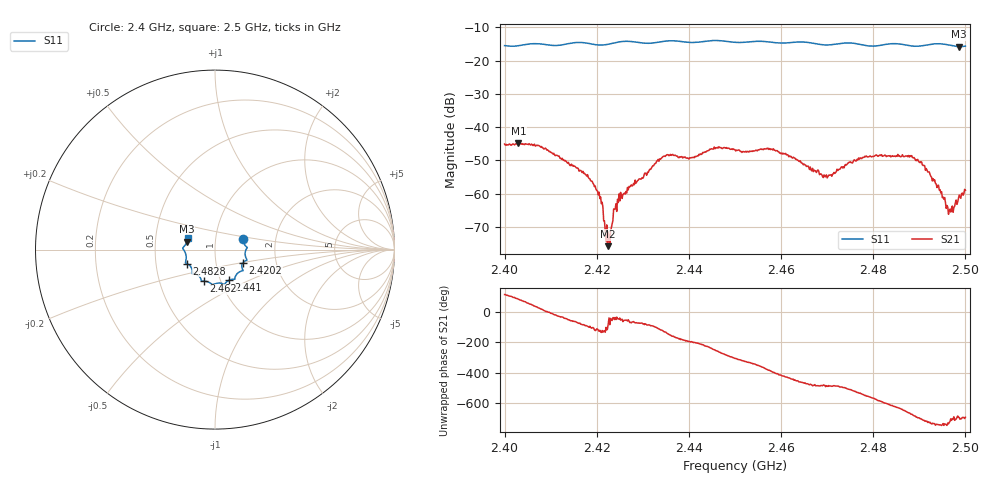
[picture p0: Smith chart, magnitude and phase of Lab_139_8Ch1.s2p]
# Hz S RI R 50
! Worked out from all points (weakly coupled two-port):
!   601 points, 2.4 GHz to 2.5 GHz, reference 50 ohm
!   highest |S21| = -44.87 dB at 2.403 GHz (marker M1); lowest = -75.8 dB at 2.4223 GHz (marker M2)
!   lowest |S11| = -15.8 dB at 2.4987 GHz (marker M3), VSWR 1.39, Z = 36.3 + j3.26 ohm
!   |S11| at or under -10 dB: start of sweep to end of sweep
!   S12 and S22 are empty: the file has one direction only
!   S11 on the Smith chart (normalised r, x): 2.4 GHz: 1.36, +0.17; 2.4202 GHz: 1.35, -0.20; 2.441 GHz: 1.10, -0.39; 2.462 GHz: 0.83, -0.30; 2.4828 GHz: 0.72, -0.12; 2.5 GHz: 0.73, +0.09
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2.4e9  0.1568 0.0607  -0.00228 0.00507  0 0  0 0
2.403e9  0.1653 0.027  0.000557 0.00568  0 0  0 0
2.4075e9  0.179 0.00935  0.00473 0.00224  0 0  0 0
2.416667e9  0.1777 -0.0591  0.000326 -0.00215  0 0  0 0
2.420167e9  0.1566 -0.0722  -0.000438 -0.000998  0 0  0 0
2.420833e9  0.1529 -0.0775  -0.000579 -0.000674  0 0  0 0
2.422333e9  0.1493 -0.0924  -5.91e-05 -0.00015  0 0  0 0
2.425e9  0.1551 -0.113  0.000595 -0.000498  0 0  0 0
2.433333e9  0.1126 -0.152  -0.00111 -0.00307  0 0  0 0
2.441e9  0.0773 -0.1707  -0.00328 0.00128  0 0  0 0
2.446e9  0.0511 -0.1943  -0.00122 0.0047  0 0  0 0
2.45e9  0.0269 -0.1864  0.00263 0.00373  0 0  0 0
2.462e9  -0.0616 -0.176  0.000845 -0.00349  0 0  0 0
2.466667e9  -0.0773 -0.1672  -0.0011 -0.00191  0 0  0 0
2.4705e9  -0.1008 -0.1402  -0.00114 -0.00151  0 0  0 0
2.477333e9  -0.1258 -0.1206  -0.00338 -0.000202  0 0  0 0
2.482833e9  -0.158 -0.0778  -0.00179 0.00312  0 0  0 0
2.483333e9  -0.1608 -0.0766  -0.00141 0.00342  0 0  0 0
2.490667e9  -0.1668 -0.015  0.00264 0.000554  0 0  0 0
2.496333e9  -0.1712 0.019  0.000471 -0.000125  0 0  0 0
2.498667e9  -0.1566 0.0437  0.000846 0.000426  0 0  0 0
2.5e9  -0.1531 0.0622  0.000987 0.000531  0 0  0 0
